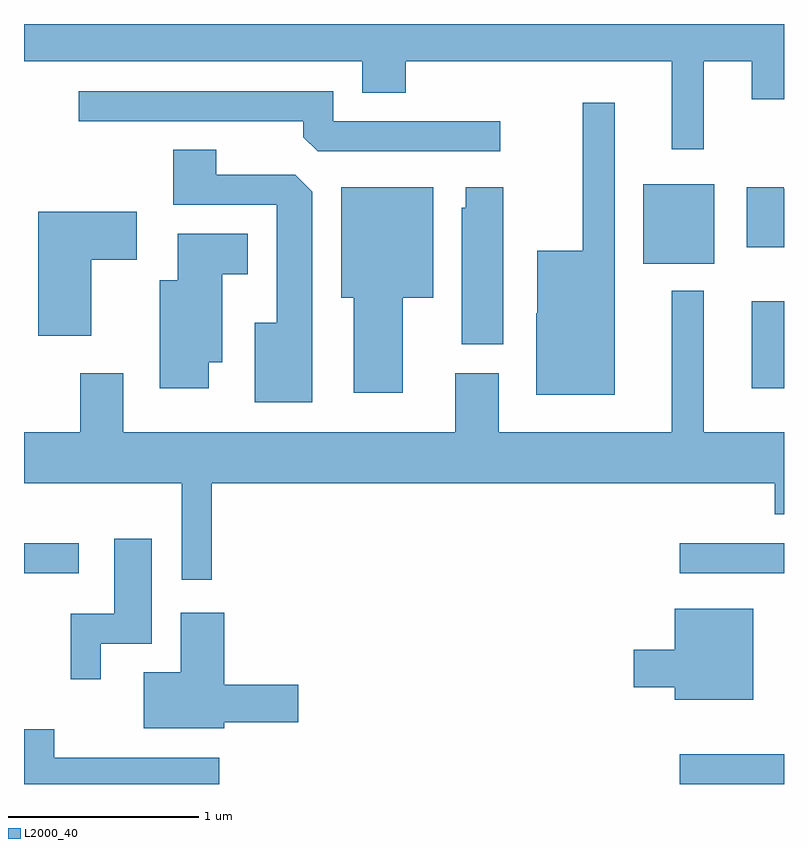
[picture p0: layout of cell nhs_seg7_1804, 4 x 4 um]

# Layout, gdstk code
import gdstk
lib = gdstk.Library(unit=1e-6, precision=1e-09)
def R(c, l, rs):  # rectangles x0, y0, x1, y1
    for r in rs: c.add(gdstk.rectangle(r[:2], r[2:], *l))
def P(c, l, *ps):  # polygons
    for p in ps: c.add(gdstk.Polygon(p, *l))
L2000_40 = (2000, 40)

nhs_seg7_1804 = lib.new_cell('nhs_seg7_1804')
R(nhs_seg7_1804, L2000_40, [(243.063,1748.252,243.611,1748.409), (239.611,1749.361,239.898,1749.519), (243.063,1749.361,243.611,1749.519), (243.441,1750.336,243.611,1750.794), (242.871,1750.991,243.244,1751.409)])
P(nhs_seg7_1804, L2000_40, [(239.611,1752.056),(241.391,1752.056),(241.391,1751.891),(241.619,1751.891),(241.619,1752.056),(243.021,1752.056),(243.021,1751.593),(243.189,1751.593),(243.189,1752.056),(243.441,1752.056),(243.441,1751.856),(243.611,1751.856),(243.611,1752.252),(239.611,1752.252)],
  [(242.118,1751.739),(241.239,1751.739),(241.239,1751.899),(239.898,1751.899),(239.898,1751.741),(241.081,1751.741),(241.081,1751.657),(241.157,1751.581),(242.118,1751.581)],
  [(242.719,1751.838),(242.551,1751.838),(242.551,1751.059),(242.311,1751.059),(242.311,1750.73),(242.306,1750.73),(242.306,1750.301),(242.719,1750.301)],
  [(241.129,1751.369),(241.039,1751.459),(240.624,1751.459),(240.624,1751.589),(240.396,1751.589),(240.396,1751.301),(240.941,1751.301),(240.941,1750.679),(240.826,1750.679),(240.826,1750.261),(241.129,1750.261)],
  [(243.611,1751.384),(243.61,1751.384),(243.61,1751.394),(243.416,1751.394),(243.416,1751.076),(243.611,1751.076)],
  [(242.134,1751.394),(241.936,1751.394),(241.936,1751.284),(241.916,1751.284),(241.916,1750.566),(242.134,1750.566)],
  [(241.604,1750.811),(241.764,1750.811),(241.764,1751.394),(241.281,1751.394),(241.281,1750.811),(241.346,1750.811),(241.346,1750.311),(241.604,1750.311)],
  [(239.964,1751.011),(240.204,1751.011),(240.204,1751.264),(239.686,1751.264),(239.686,1750.611),(239.964,1750.611)],
  [(240.584,1750.471),(240.654,1750.471),(240.654,1750.936),(240.789,1750.936),(240.789,1751.149),(240.421,1751.149),(240.421,1750.904),(240.326,1750.904),(240.326,1750.336),(240.584,1750.336)],
  [(240.599,1749.836),(243.561,1749.836),(243.561,1749.671),(243.611,1749.671),(243.611,1750.104),(243.189,1750.104),(243.189,1750.848),(243.021,1750.848),(243.021,1750.104),(242.109,1750.104),(242.109,1750.414),(241.881,1750.414),(241.881,1750.104),(240.134,1750.104),(240.134,1750.414),(239.906,1750.414),(239.906,1750.104),(239.611,1750.104),(239.611,1749.836),(240.441,1749.836),(240.441,1749.328),(240.599,1749.328)],
  [(240.014,1748.991),(240.284,1748.991),(240.284,1749.544),(240.086,1749.544),(240.086,1749.149),(239.856,1749.149),(239.856,1748.803),(240.014,1748.803)],
  [(243.449,1749.174),(243.036,1749.174),(243.036,1748.959),(242.821,1748.959),(242.821,1748.761),(243.036,1748.761),(243.036,1748.696),(243.449,1748.696)],
  [(240.664,1748.576),(241.054,1748.576),(241.054,1748.774),(240.664,1748.774),(240.664,1749.154),(240.436,1749.154),(240.436,1748.839),(240.241,1748.839),(240.241,1748.546),(240.664,1748.546)],
  [(240.638,1748.389),(239.769,1748.389),(239.769,1748.539),(239.611,1748.539),(239.611,1748.252),(240.638,1748.252)])

lib.write_gds('nhs_seg7_1804.gds')
